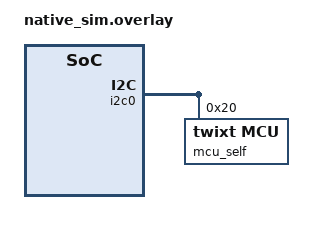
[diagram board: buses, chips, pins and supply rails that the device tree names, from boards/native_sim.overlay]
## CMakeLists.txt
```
# Copyright (c) 2026 Christoph Jans <jans.christoph@gmail.com>
# SPDX-License-Identifier: Apache-2.0

cmake_minimum_required(VERSION 3.20.0)

find_package(Zephyr REQUIRED HINTS $ENV{ZEPHYR_BASE})
project(twixt_test)

target_sources(app PRIVATE src/bus.c src/settings.c src/smp.c)
```

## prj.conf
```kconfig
# Copyright (c) 2026 Christoph Jans <jans.christoph@gmail.com>
# SPDX-License-Identifier: Apache-2.0

CONFIG_ZTEST=y
CONFIG_I2C=y
CONFIG_FLASH=y
CONFIG_FLASH_MAP=y
CONFIG_NVS=y
CONFIG_SETTINGS=y
CONFIG_SETTINGS_NVS=y
CONFIG_TWIXT_SETTINGS=y
CONFIG_ZTEST_STACK_SIZE=2048

# The MCUmgr service, with the os group's echo
CONFIG_MCUMGR=y
CONFIG_NET_BUF=y
CONFIG_ZCBOR=y
CONFIG_MCUMGR_GRP_OS=y
CONFIG_TWIXT_SMP=y
CONFIG_SYSTEM_WORKQUEUE_STACK_SIZE=2048
```

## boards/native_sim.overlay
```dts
/*
 * Copyright (c) 2026 Christoph Jans <jans.christoph@gmail.com>
 *
 * SPDX-License-Identifier: Apache-2.0
 */

/* One MCU alone on the bus: requests to itself, raw transfers to its own target
 * (the native_sim port can address it), and NACKs from an empty address. A bus-id
 * of its own, so that the samples (bus 0 and 1) do not get in the way.
 */

/ {
	chosen {
		twixt,self = &mcu_self;
	};
};

&i2c0 {
	compatible = "twixt,native-i2c-mm";
	bus-id = <42>;
	loopback;

	mcu_self: mcu@20 {
		compatible = "twixt,mcu";
		reg = <0x20>;
	};
};
```

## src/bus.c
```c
/*
 * Copyright (c) 2026 Christoph Jans <jans.christoph@gmail.com>
 *
 * SPDX-License-Identifier: Apache-2.0
 *
 * Twixt under faults, and its ping service. The native_sim port can address
 * its own target (`loopback`), so these tests send raw transfers to this MCU's target, over
 * the bus and through its interrupt: what a broken or foreign controller could
 * send, and what a controller that lost its place leaves behind. A test service
 * counts how often a request really ran; another one echoes what it got.
 */

#include <string.h>
#include <zephyr/drivers/i2c.h>
#include <zephyr/sys/atomic.h>
#include <zephyr/ztest.h>

#include <drivers/i2c/i2c_mm_native.h>
#include <twixt/twixt.h>
#include <twixt/ping.h>

#define ADDR          DT_REG_ADDR(TWIXT_SELF)
#define I2C_DEV       DEVICE_DT_GET(DT_BUS(TWIXT_SELF))
#define EMPTY_ADDR    0x55
#define SERVICE_COUNT (TWIXT_SERVICE_APP + 0x7e)
#define SERVICE_NONE  (TWIXT_SERVICE_APP + 0x7d)
#define SERVICE_ECHO  (TWIXT_SERVICE_APP + 0x7c)
#define SERVICE_FAIL  (TWIXT_SERVICE_APP + 0x7b)
#define SERVICE_EIO   (TWIXT_SERVICE_APP + 0x7a)
#define SRC           0x42
#define BIG_ERRNO     200 /* past 127, as ENOTSUP (134) with picolibc */

static atomic_t runs;

/* The response data is how often it ran, this time included */
static int count(const struct twixt_req *req, uint8_t *rsp_data)
{
	rsp_data[0] = atomic_inc(&runs) + 1;
	return 1;
}

TWIXT_SERVICE_DEFINE(test_count_service, SERVICE_COUNT, count);

/* The response data is src, data */
static int echo(const struct twixt_req *req, uint8_t *rsp_data)
{
	rsp_data[0] = req->src;
	memcpy(&rsp_data[1], req->data, req->len);
	return 1 + req->len;
}

TWIXT_SERVICE_DEFINE(test_echo_service, SERVICE_ECHO, echo);

static int fail(const struct twixt_req *req, uint8_t *rsp_data)
{
	return -BIG_ERRNO;
}

TWIXT_SERVICE_DEFINE(test_fail_service, SERVICE_FAIL, fail);

static int eio(const struct twixt_req *req, uint8_t *rsp_data)
{
	return -EIO;
}

TWIXT_SERVICE_DEFINE(test_eio_service, SERVICE_EIO, eio);

/* Raw transfers to this MCU's own target, over the bus: the request is service, src, flags,
 * data; the response is status, data
 */
static int request(const uint8_t *req, size_t req_len, uint8_t *rsp, size_t rsp_len)
{
	return i2c_write_read(I2C_DEV, ADDR, req, req_len, rsp, rsp_len);
}

static const uint8_t count_req[] = {SERVICE_COUNT, SRC, 0};

ZTEST(twixt_faults, test_request)
{
	atomic_val_t before = atomic_get(&runs);
	uint8_t rsp[2];

	zassert_ok(request(count_req, sizeof(count_req), rsp, sizeof(rsp)));
	zassert_equal(rsp[0], 0);
	zassert_equal(rsp[1], before + 1);
	zassert_equal(atomic_get(&runs), before + 1);
}

/* A read without a request (a bus scan) gets -EBADMSG, and does not run the last request */
ZTEST(twixt_faults, test_read_alone)
{
	uint8_t rsp[2];
	atomic_val_t before;

	zassert_ok(request(count_req, sizeof(count_req), rsp, sizeof(rsp)));
	before = atomic_get(&runs);

	zassert_ok(i2c_read(I2C_DEV, rsp, sizeof(rsp), ADDR));
	zassert_equal(rsp[0], EBADMSG);
	zassert_equal(atomic_get(&runs), before, "the last request ran again");
}

/* A request whose controller gave up before the read does not run, not even later */
ZTEST(twixt_faults, test_write_alone)
{
	atomic_val_t before = atomic_get(&runs);
	uint8_t rsp[2];

	zassert_ok(i2c_write(I2C_DEV, count_req, sizeof(count_req), ADDR));
	zassert_ok(i2c_read(I2C_DEV, rsp, sizeof(rsp), ADDR));
	zassert_equal(rsp[0], EBADMSG);
	zassert_equal(atomic_get(&runs), before);
}

/*
 * The controller reads only part of the response (it was reset during the read):
 * the request ran once, and the next one gets its own fresh response
 */
ZTEST(twixt_faults, test_lost_response)
{
	atomic_val_t before = atomic_get(&runs);
	uint8_t rsp[2];

	zassert_ok(request(count_req, sizeof(count_req), rsp, 1));
	zassert_equal(atomic_get(&runs), before + 1);

	zassert_ok(request(count_req, sizeof(count_req), rsp, sizeof(rsp)));
	zassert_equal(rsp[0], 0);
	zassert_equal(rsp[1], before + 2);
}

/* A request longer than TWIXT_MSG_MAX is NACKed and not run; the next one works */
ZTEST(twixt_faults, test_too_long)
{
	uint8_t req[TWIXT_MSG_MAX + 1] = {SERVICE_COUNT, SRC, 0};
	atomic_val_t before = atomic_get(&runs);
	uint8_t rsp[2];

	zassert_equal(request(req, sizeof(req), rsp, sizeof(rsp)), -EIO);
	zassert_equal(atomic_get(&runs), before);

	zassert_ok(request(count_req, sizeof(count_req), rsp, sizeof(rsp)));
	zassert_equal(rsp[1], before + 1);
}

ZTEST(twixt_faults, test_unknown_service)
{
	const uint8_t req[] = {SERVICE_NONE, SRC, 0};
	uint8_t rsp[2];

	zassert_ok(request(req, sizeof(req), rsp, sizeof(rsp)));
	zassert_equal(rsp[0], ENOTSUP);
}

/*
 * An errno past 127 is an error, on the wire and as the result: native_sim's libc
 * has ENOTSUP at 95, Zephyr's (picolibc, minimal) at 134
 */
ZTEST(twixt_faults, test_big_errno)
{
	const uint8_t req[] = {SERVICE_FAIL, SRC, 0};
	uint8_t rsp[2];

	zassert_ok(request(req, sizeof(req), rsp, sizeof(rsp)));
	zassert_equal(rsp[0], BIG_ERRNO);
	zassert_equal(twixt_request(ADDR, SERVICE_FAIL, NULL, 0, rsp, sizeof(rsp)), -BIG_ERRNO);
}

/* A service's -EIO must not look like "nobody answers" */
ZTEST(twixt_faults, test_bus_errno)
{
	uint8_t rsp[1];

	zassert_equal(twixt_request(ADDR, SERVICE_EIO, NULL, 0, rsp, sizeof(rsp)), -EFAULT);
}

/* A request without its whole header (service, src, flags) is no request */
ZTEST(twixt_faults, test_short_header)
{
	const uint8_t req[] = {SERVICE_COUNT, SRC};
	atomic_val_t before = atomic_get(&runs);
	uint8_t rsp[2];

	zassert_ok(request(req, sizeof(req), rsp, sizeof(rsp)));
	zassert_equal(rsp[0], EBADMSG);
	zassert_equal(atomic_get(&runs), before);
}

/* The service gets src and data as they were sent, and its response data comes back whole */
ZTEST(twixt_faults, test_echo)
{
	const uint8_t req[] = {SERVICE_ECHO, SRC, 0, 1, 2, 3};
	const uint8_t want[] = {0, SRC, 1, 2, 3};
	uint8_t rsp[sizeof(want)];

	zassert_ok(request(req, sizeof(req), rsp, sizeof(rsp)));
	zassert_mem_equal(rsp, want, sizeof(want));
}

/* Flags are reserved: whatever a later version sends there, this one runs the request */
ZTEST(twixt_faults, test_flags_ignored)
{
	const uint8_t req[] = {SERVICE_ECHO, SRC, 0xff, 7};
	const uint8_t want[] = {0, SRC, 7};
	uint8_t rsp[sizeof(want)];

	zassert_ok(request(req, sizeof(req), rsp, sizeof(rsp)));
	zassert_mem_equal(rsp, want, sizeof(want));
}

/* twixt_request() puts this MCU in as src; to itself, past the response data reads as 0xff */
ZTEST(twixt_faults, test_echo_request)
{
	const uint8_t data[] = {4, 5};
	const uint8_t want[] = {ADDR, 4, 5, 0xff};
	uint8_t rsp[sizeof(want)];

	zassert_ok(twixt_request(ADDR, SERVICE_ECHO, data, sizeof(data), rsp, sizeof(rsp)));
	zassert_mem_equal(rsp, want, sizeof(want));
}

/* A target holds SDA low: the driver recovers the bus, and the request gets through */
ZTEST(twixt_faults, test_stuck_bus)
{
	struct i2c_mm_native_stats before, after;
	struct twixt_ping_info info;

	i2c_mm_native_get_stats(I2C_DEV, &before);
	i2c_mm_native_stick_bus(I2C_DEV);

	zassert_equal(twixt_ping(EMPTY_ADDR, &info), -EIO, "not through to the NACK");
	i2c_mm_native_get_stats(I2C_DEV, &after);
	zassert_equal(after.recoveries, before.recoveries + 1);
}

ZTEST_SUITE(twixt_faults, NULL, NULL, NULL, NULL, NULL);

ZTEST(twixt_ping, test_ping)
{
	struct twixt_ping_info info;

	zassert_ok(twixt_ping(ADDR, &info));
	zassert_equal(info.version, TWIXT_PROTOCOL_VERSION);
	zassert_equal(info.msg_max, TWIXT_MSG_MAX);
}

/* The same over the bus: service 0x00, src, flags; response status, version, TWIXT_MSG_MAX */
ZTEST(twixt_ping, test_ping_on_the_wire)
{
	const uint8_t req[] = {TWIXT_SERVICE_PING, SRC, 0};
	uint8_t rsp[3];

	zassert_ok(request(req, sizeof(req), rsp, sizeof(rsp)));
	zassert_equal(rsp[0], 0);
	zassert_equal(rsp[1], TWIXT_PROTOCOL_VERSION);
	zassert_equal(rsp[2], TWIXT_MSG_MAX);
}

ZTEST(twixt_ping, test_ping_nobody)
{
	struct twixt_ping_info info;

	zassert_equal(twixt_ping(EMPTY_ADDR, &info), -EIO);
}

ZTEST_SUITE(twixt_ping, NULL, NULL, NULL, NULL, NULL);
```

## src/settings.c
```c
/*
 * Copyright (c) 2026 Christoph Jans <jans.christoph@gmail.com>
 *
 * SPDX-License-Identifier: Apache-2.0
 *
 * The settings service of twixt, with one MCU on the bus. Requests to the
 * MCU's own address do not go over the bus, so this covers the request handling
 * and the error codes, and the controller side only up to a NACK. Requests between MCUs need
 * several processes: tests/stress and samples/.
 *
 * Settings of the test, subtree "t":
 *   t/ro   r    4 bytes
 *   t/rw   rw   up to TWIXT_SETTINGS_VALUE_MAX bytes, stored
 */

#include <string.h>
#include <zephyr/kernel.h>
#include <zephyr/settings/settings.h>
#include <zephyr/spinlock.h>
#include <zephyr/ztest.h>

#include <drivers/i2c/i2c_mm_native.h>
#include <twixt/twixt.h>
#include <twixt/settings.h>

#define ADDR       DT_REG_ADDR(TWIXT_SELF)
#define I2C_DEV    DEVICE_DT_GET(DT_BUS(TWIXT_SELF))
#define EMPTY_ADDR 0x55

static const uint8_t ro[4] = {0xde, 0xad, 0xbe, 0xef};

static struct k_spinlock lock;
static uint8_t rw[TWIXT_SETTINGS_VALUE_MAX];
static uint8_t rw_len;
static atomic_t exports;

static int t_get(const char *key, char *val, int val_len_max)
{
	int len = -ENOENT;

	K_SPINLOCK(&lock) {
		if (settings_name_steq(key, "ro", NULL)) {
			len = sizeof(ro);
			memcpy(val, ro, MIN(len, val_len_max));
		} else if (settings_name_steq(key, "rw", NULL) && rw_len > 0) {
			len = rw_len;
			memcpy(val, rw, MIN(len, val_len_max));
		}
	}
	return len;
}

static int t_set(const char *key, size_t len, settings_read_cb read_cb, void *cb_arg)
{
	uint8_t data[TWIXT_SETTINGS_VALUE_MAX];
	ssize_t ret;

	if (settings_name_steq(key, "ro", NULL)) {
		return -EACCES;
	}
	if (!settings_name_steq(key, "rw", NULL)) {
		return -ENOENT;
	}
	if (len == 0 || len > sizeof(data)) {
		return -EINVAL;
	}
	ret = read_cb(cb_arg, data, len);
	if (ret < 0) {
		return ret;
	}
	K_SPINLOCK(&lock) {
		memcpy(rw, data, len);
		rw_len = len;
	}
	return 0;
}

static int t_export(int (*export_func)(const char *name, const void *val, size_t val_len))
{
	uint8_t data[TWIXT_SETTINGS_VALUE_MAX];
	uint8_t len;

	K_SPINLOCK(&lock) {
		len = rw_len;
		memcpy(data, rw, len);
	}
	atomic_inc(&exports);
	return len > 0 ? export_func("t/rw", data, len) : 0;
}

SETTINGS_STATIC_HANDLER_DEFINE(t, "t", t_get, t_set, NULL, t_export);

ZTEST(twixt_settings, test_get)
{
	uint8_t val[TWIXT_SETTINGS_VALUE_MAX];

	zassert_equal(twixt_settings_get(ADDR, "t/ro", val, sizeof(val)), sizeof(ro));
	zassert_mem_equal(val, ro, sizeof(ro));
}

ZTEST(twixt_settings, test_get_short_buffer)
{
	uint8_t val[2] = {0};

	/* the whole length, but only what fits */
	zassert_equal(twixt_settings_get(ADDR, "t/ro", val, sizeof(val)), sizeof(ro));
	zassert_mem_equal(val, ro, sizeof(val));
}

ZTEST(twixt_settings, test_unknown_key)
{
	uint8_t val[TWIXT_SETTINGS_VALUE_MAX];

	zassert_equal(twixt_settings_get(ADDR, "t/nothing", val, sizeof(val)), -ENOENT);
	zassert_equal(twixt_settings_set(ADDR, "t/nothing", val, 1), -ENOENT);
	/* no handler for the subtree: settings_runtime_get() says -EINVAL */
	zassert_equal(twixt_settings_get(ADDR, "nosuch/key", val, sizeof(val)), -EINVAL);
}

/* The data of a request is op, key, NUL[, value] */
ZTEST(twixt_settings, test_bad_request)
{
	const uint8_t bad_op[] = {0x7f, 't', '/', 'r', 'o', '\0'};
	const uint8_t no_nul[] = {TWIXT_SETTINGS_OP_GET, 't', '/', 'r', 'o'};
	const uint8_t no_key[] = {TWIXT_SETTINGS_OP_GET, '\0'};
	uint8_t rsp[1];

	zassert_equal(twixt_request(ADDR, TWIXT_SERVICE_SETTINGS, bad_op, sizeof(bad_op), rsp, 1),
		      -ENOTSUP);
	zassert_equal(twixt_request(ADDR, TWIXT_SERVICE_SETTINGS, no_nul, sizeof(no_nul), rsp, 1),
		      -EINVAL);
	zassert_equal(twixt_request(ADDR, TWIXT_SERVICE_SETTINGS, no_key, sizeof(no_key), rsp, 1),
		      -EINVAL);
	zassert_equal(twixt_request(ADDR, TWIXT_SERVICE_SETTINGS, NULL, 0, rsp, 1), -EINVAL);
}

ZTEST(twixt_settings, test_set_read_only)
{
	uint8_t val = 0;

	zassert_equal(twixt_settings_set(ADDR, "t/ro", &val, 1), -EACCES);
}

ZTEST(twixt_settings, test_too_long)
{
	char key[TWIXT_SETTINGS_KEY_MAX + 1];
	uint8_t val[TWIXT_SETTINGS_VALUE_MAX + 1] = {0};

	memset(key, 'k', sizeof(key) - 1);
	key[sizeof(key) - 1] = '\0';
	zassert_equal(twixt_settings_get(ADDR, key, val, 1), -EINVAL);
	zassert_equal(twixt_settings_set(ADDR, "t/rw", val, sizeof(val)), -EINVAL);
}

/* A SET is stored by a work item: settings_load() brings the value back */
ZTEST(twixt_settings, test_set_stored)
{
	const uint8_t val[] = {1, 2, 3};
	uint8_t got[TWIXT_SETTINGS_VALUE_MAX];
	atomic_val_t before = atomic_get(&exports);

	zassert_ok(twixt_settings_set(ADDR, "t/rw", val, sizeof(val)));
	zassert_equal(twixt_settings_get(ADDR, "t/rw", got, sizeof(got)), sizeof(val));
	zassert_mem_equal(got, val, sizeof(val));

	zassert_true(WAIT_FOR(atomic_get(&exports) > before, USEC_PER_SEC, k_msleep(1)),
		     "settings not saved");

	K_SPINLOCK(&lock) {
		rw_len = 0;
	}
	zassert_ok(settings_load_subtree("t"));
	zassert_equal(twixt_settings_get(ADDR, "t/rw", got, sizeof(got)), sizeof(val));
	zassert_mem_equal(got, val, sizeof(val));
}

/* Over the bus, to an address where nobody is */
ZTEST(twixt_settings, test_nobody_there)
{
	struct i2c_mm_native_stats before, after;
	struct i2c_mm_stats bus;
	uint8_t val[TWIXT_SETTINGS_VALUE_MAX];

	i2c_mm_native_get_stats(I2C_DEV, &before);
	zassert_equal(twixt_settings_get(EMPTY_ADDR, "t/ro", val, sizeof(val)), -EIO);
	i2c_mm_native_get_stats(I2C_DEV, &after);
	zassert_equal(after.nacks, before.nacks + 1);
	twixt_get_stats(&bus);
	zassert_equal(bus.sent, 0);
}

static void *setup(void)
{
	zassert_ok(settings_subsys_init());
	return NULL;
}

ZTEST_SUITE(twixt_settings, NULL, setup, NULL, NULL, NULL);
```

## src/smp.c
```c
/*
 * Copyright (c) 2026 Christoph Jans <jans.christoph@gmail.com>
 *
 * SPDX-License-Identifier: Apache-2.0
 *
 * The MCUmgr service, to this MCU itself: an os echo request goes in
 * fragments to this MCU's MCUmgr, whose response comes back the same way. The
 * fault tests send the fragments one by one, as twixt_smp_send() would.
 */

#include <string.h>
#include <zephyr/mgmt/mcumgr/smp/smp.h>
#include <zephyr/sys/byteorder.h>
#include <zephyr/sys/crc.h>
#include <zephyr/ztest.h>

#include <twixt/smp.h>
#include <twixt/twixt.h>

#define ADDR       DT_REG_ADDR(TWIXT_SELF)
#define HDR_LEN    8
#define OP_WRITE   2
#define OP_WRITE_R 3
#define SMP_V2     (1 << 3)
#define CBOR_LEN   6 /* {"d": text} without the text, text of 24 bytes or more */
#define TEXT_LONG  300
#define TEXT_FULL  (CONFIG_MCUMGR_TRANSPORT_NETBUF_SIZE - HDR_LEN - CBOR_LEN)
#define WAIT       K_MSEC(500)

static uint8_t pkt[CONFIG_MCUMGR_TRANSPORT_NETBUF_SIZE];
static char text[TEXT_FULL + 1];
static uint8_t seq;

/* os echo {"d": text}: group 0, command 0 */
static size_t echo_request(const char *text)
{
	size_t n = strlen(text);
	size_t len = 0;
	uint8_t *p = &pkt[HDR_LEN];

	p[len++] = 0xa1;
	p[len++] = 0x61;
	p[len++] = 'd';
	if (n < 24) {
		p[len++] = 0x60 + n;
	} else {
		p[len++] = 0x79;
		sys_put_be16(n, &p[len]);
		len += 2;
	}
	memcpy(&p[len], text, n);
	len += n;

	pkt[0] = SMP_V2 | OP_WRITE;
	pkt[1] = 0;
	sys_put_be16(len, &pkt[2]);
	sys_put_be16(0, &pkt[4]);
	pkt[6] = ++seq;
	pkt[7] = 0;
	return HDR_LEN + len;
}

/* MCUmgr encodes the response map with indefinite length: the text is inside, not at the end */
static bool contains(const struct net_buf *nb, const char *text)
{
	size_t n = strlen(text);

	for (size_t i = HDR_LEN; i + n <= nb->len; i++) {
		if (memcmp(&nb->data[i], text, n) == 0) {
			return true;
		}
	}
	return false;
}

/* The response to the last request: a write response from this MCU with its sequence */
static struct net_buf *expect_response(void)
{
	uint8_t src;
	struct net_buf *nb = twixt_smp_rsp_get(&src, WAIT);

	zassert_not_null(nb, "no response");
	zassert_equal(src, ADDR);
	zassert_true(nb->len > HDR_LEN);
	zassert_equal(nb->data[0] & 0x07, OP_WRITE_R);
	zassert_equal(nb->data[6], seq);
	zassert_equal(sys_get_be16(&nb->data[2]), nb->len - HDR_LEN);
	return nb;
}

/* The response to the last request, with the text inside */
static void expect_echo(const char *text)
{
	struct net_buf *nb = expect_response();

	zassert_true(contains(nb, text), "the response has another text");
	smp_packet_free(nb);
}

static void expect_none(void)
{
	struct net_buf *nb = twixt_smp_rsp_get(NULL, WAIT);

	if (nb != NULL) {
		smp_packet_free(nb);
	}
	zassert_is_null(nb, "a response to a broken request");
}

/* Fragment i of pkt and its CRC, as twixt_smp_send() cuts them */
static int send_frag(size_t len, size_t i, bool crc_ok)
{
	static uint8_t stream[sizeof(pkt) + 2];
	uint8_t frag[1 + TWIXT_SMP_FRAG_MAX];
	size_t total = len + 2;
	size_t off = i * TWIXT_SMP_FRAG_MAX;
	size_t n = MIN(total - off, TWIXT_SMP_FRAG_MAX);

	memcpy(stream, pkt, len);
	sys_put_be16(crc16_itu_t(0, pkt, len) ^ (crc_ok ? 0 : 1), &stream[len]);
	frag[0] = (i == 0 ? TWIXT_SMP_FIRST : 0) | i;
	memcpy(&frag[1], &stream[off], n);
	return twixt_request(ADDR, TWIXT_SERVICE_SMP, frag, 1 + n, NULL, 0);
}

static size_t frags(size_t len)
{
	return DIV_ROUND_UP(len + 2, TWIXT_SMP_FRAG_MAX);
}

static const char *long_text(size_t n)
{
	for (size_t i = 0; i < n; i++) {
		text[i] = 'a' + i % 26;
	}
	text[n] = '\0';
	return text;
}

static void before(void *fixture)
{
	struct net_buf *nb;

	while ((nb = twixt_smp_rsp_get(NULL, K_NO_WAIT)) != NULL) {
		smp_packet_free(nb);
	}
}

ZTEST(twixt_smp, test_echo)
{
	size_t len = echo_request("hello");

	zassert_equal(frags(len), 1);
	zassert_ok(twixt_smp_send(ADDR, pkt, len));
	expect_echo("hello");
}

/* Longer than one fragment, both ways */
ZTEST(twixt_smp, test_echo_long)
{
	size_t len = echo_request(long_text(TEXT_LONG));

	zassert_true(frags(len) > 4);
	zassert_ok(twixt_smp_send(ADDR, pkt, len));
	expect_echo(text);
}

/* A fragment sent again (its answer was lost) is taken once */
ZTEST(twixt_smp, test_fragment_twice)
{
	size_t len = echo_request(long_text(TEXT_LONG));

	for (size_t i = 0; i < frags(len); i++) {
		zassert_ok(send_frag(len, i, true));
		if (i == 1) {
			zassert_ok(send_frag(len, i, true));
		}
	}
	expect_echo(text);
}

/* A missing fragment drops the packet; the next packet comes through */
ZTEST(twixt_smp, test_fragment_missing)
{
	size_t len = echo_request(long_text(TEXT_LONG));

	zassert_ok(send_frag(len, 0, true));
	zassert_equal(send_frag(len, 2, true), -EPROTO);
	expect_none();

	zassert_ok(twixt_smp_send(ADDR, pkt, len));
	expect_echo(text);
}

/* A packet with a wrong CRC goes nowhere */
ZTEST(twixt_smp, test_crc_wrong)
{
	size_t len = echo_request("hello");

	zassert_ok(send_frag(len, 0, false));
	expect_none();
}

/* A fragment that does not start a packet is refused */
ZTEST(twixt_smp, test_no_first)
{
	uint8_t frag[] = {1, 0};

	zassert_equal(twixt_request(ADDR, TWIXT_SERVICE_SMP, frag, sizeof(frag), NULL, 0), -EPROTO);
	expect_none();
}

/*
 * A request as large as MCUmgr's buffer fits, the CRC outside it, and gets a response. Not the
 * echo: that would be a byte longer than the buffer (indefinite-length map), so MCUmgr answers
 * with an error.
 */
ZTEST(twixt_smp, test_full_buffer)
{
	size_t len = echo_request(long_text(TEXT_FULL));

	zassert_equal(len, CONFIG_MCUMGR_TRANSPORT_NETBUF_SIZE);
	zassert_ok(twixt_smp_send(ADDR, pkt, len));
	smp_packet_free(expect_response());
}

ZTEST_SUITE(twixt_smp, NULL, NULL, before, NULL, NULL);
```
